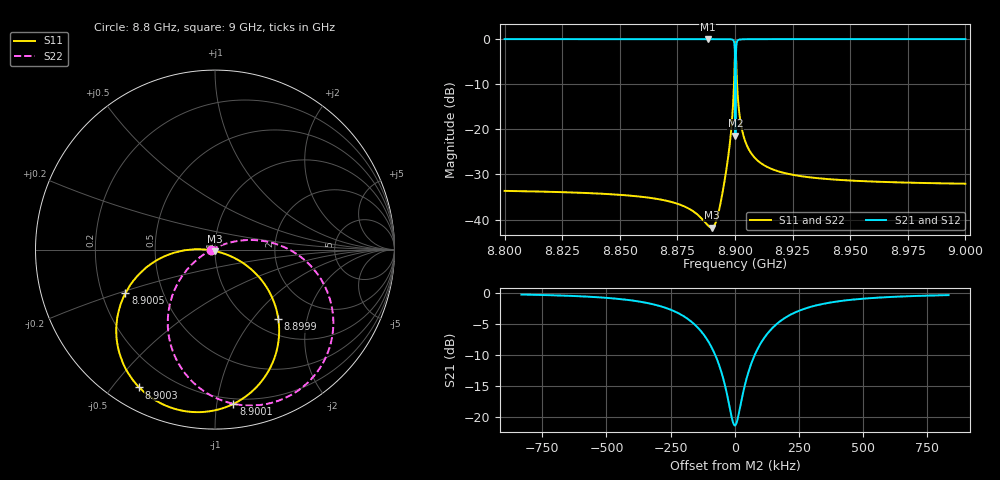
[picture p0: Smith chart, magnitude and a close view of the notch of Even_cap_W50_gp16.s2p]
! Sonnet Data File
! From: emgraph Version : 16.52
! From Project: Resonator2_cp_varyW
! Data is De-embedded
! Data File Written: 10/07/2017 09:25:24
!< HDATE 10/06/2017 17:18:21
!< MDATE 10/06/2017 17:18:21
!< PARAMS
!< gap = 16.0
!< Length = 400.0
!< Pwid1 = 2000.0
!< Pwid2 = 2000.0
!< Air_gap = 30.0
!< Width = 50.0
!< END PARAMS
# GHZ S MA R 51.80000
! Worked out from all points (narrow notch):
!   1595 points, 8.8 GHz to 9 GHz, reference 51.8 ohm
!   highest |S21| = 0.00 dB at 8.8881 GHz (marker M1); lowest = -21.4 dB at 8.9002 GHz (marker M2)
!   notch at M2: 21.4 dB deep, 141 kHz wide at half that depth
!   lowest |S11| = -41.8 dB at 8.8898 GHz (marker M3), VSWR 1.02, Z = 51.6 - j0.821 ohm
!   |S11| at or under -10 dB: start of sweep to 8.8996 GHz; 8.9009 GHz to end of sweep
!   |S22| runs from -41.9 to -0.8 dB; largest |S21 - S12| = 0
!   S11 on the Smith chart (normalised r, x): 8.8 GHz: 0.96, -0.01; 8.8999 GHz: 1.28, -1.36; 8.9001 GHz: 0.16, -1.11; 8.9003 GHz: 0.09, -0.59; 8.9005 GHz: 0.30, -0.21; 9 GHz: 0.95, -0.01
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8.8  0.0208 -167.0  0.9998 -80.8  0.9998 -80.8  0.0208 -174.7
!< P1 F=8.8 Eeff=(6.4404796 -2.969e-5) Z0=(50.4071347 1.16291e-4) R=0.0 C=0.0
!< P2 F=8.8 Eeff=(6.4404796 -2.969e-5) Z0=(50.4071347 1.16291e-4) R=0.0 C=0.0
8.8334  0.0198 -166.1  0.9998 -81.2  0.9998 -81.2  0.0198 -176.3
8.8668  0.01684 -161.9  0.9999 -81.7  0.9999 -81.7  0.01683 178.6
8.888105  0.008693 -122.3  0.9999 -82.5  0.9999 -82.5  0.008638 137.3
8.8898  0.008139 -102.4  0.9999 -82.7  0.9999 -82.7  0.00806 116.9
8.8926  0.01127 -58.7  0.9999 -83.2  0.9999 -83.2  0.01116 71.7
8.896591  0.04092 -26.0  0.9988 -85.1  0.9988 -85.1  0.04079 34.8
8.898999  0.1621 -25.0  0.9837 -92.1  0.9837 -92.1  0.1618 18.6
8.899582  0.3209 -33.9  0.9358 -101.5  0.9358 -101.5  0.3204 6.8
8.899855  0.523 -47.6  0.8203 -114.3  0.8203 -114.3  0.5222 -8.2
8.9  0.7135 -63.6  0.6276 -128.0  0.6276 -128.0  0.7124 -24.9
8.900108  0.8657 -83.2  0.3326 -139.8  0.3326 -139.8  0.8644 -44.9
8.90019  0.9158 -101.7  0.08484 -83.7  0.08484 -83.7  0.9145 -63.8
8.900265  0.8762 -118.8  0.3056 -25.2  0.3056 -25.2  0.8749 -81.2
8.900361  0.7536 -136.3  0.5755 -34.4  0.5755 -34.4  0.7525 -99.1
8.900518  0.5555 -154.0  0.7989 -49.2  0.7989 -49.2  0.5547 -117.4
8.901044  0.2689 -173.3  0.9573 -67.3  0.9573 -67.3  0.2686 -138.7
8.9024  0.1209 179.3  0.9918 -75.9  0.9918 -75.9  0.1207 -150.3
8.9068  0.0554 179.8  0.9984 -79.8  0.9984 -79.8  0.05537 -159.1
8.9334  0.0292 -174.4  0.9996 -81.5  0.9996 -81.5  0.0292 -168.7
8.9668  0.02602 -172.8  0.9997 -82.0  0.9997 -82.0  0.02601 -171.2
9  0.02497 -172.4  0.9997 -82.4  0.9997 -82.4  0.02497 -172.4
